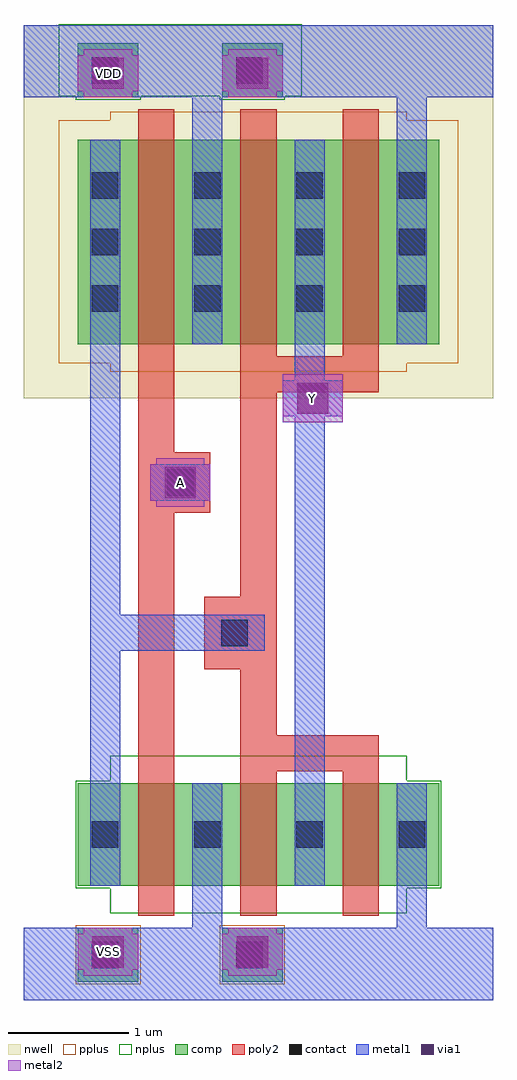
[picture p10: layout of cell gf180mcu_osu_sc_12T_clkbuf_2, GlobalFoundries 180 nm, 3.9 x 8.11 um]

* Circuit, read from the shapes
.subckt gf180mcu_osu_sc_12T_clkbuf_2 A VDD VSS Y
XM1 VSS A n1 VSS nfet_03v3 w=0.85u l=0.3u
XM2 Y n1 VSS VSS nfet_03v3 w=0.85u l=0.3u m=2
XM3 VDD A n1 VDD pfet_03v3 w=1.7u l=0.3u
XM4 Y n1 VDD VDD pfet_03v3 w=1.7u l=0.3u m=2
.ends

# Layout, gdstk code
import gdstk
lib = gdstk.Library(unit=1e-6, precision=1e-09)
def R(c, l, rs):  # rectangles x0, y0, x1, y1
    for r in rs: c.add(gdstk.rectangle(r[:2], r[2:], *l))
def A(c, l, x, y, w, h, nx, ny, dx, dy):  # array of equal rectangles
    R(c, l, [(x+i*dx, y+j*dy, x+i*dx+w, y+j*dy+h) for i in range(nx) for j in range(ny)])
nwell = (21, 0)
comp = (22, 0)
poly2 = (30, 0)
pplus = (31, 0)
nplus = (32, 0)
contact = (33, 0)
metal1 = (34, 0)
via1 = (35, 0)
metal2 = (36, 0)

gf180mcu_osu_sc_12t_clkb = lib.new_cell('gf180mcu_osu_sc_12T_clkbuf_2')
R(gf180mcu_osu_sc_12t_clkb, nwell, [(0,5,3.9,8.1)])
R(gf180mcu_osu_sc_12t_clkb, comp, [(0.45,0.15,0.95,0.6), (1.65,0.15,2.15,0.6), (0.45,0.95,3.45,1.8), (0.45,5.45,3.45,7.15), (0.45,7.5,0.95,7.95), (1.65,7.5,2.15,7.95)])
R(gf180mcu_osu_sc_12t_clkb, poly2, [(0.95,0.7,1.25,4.05), (1.8,0.7,2.1,1.9), (2.65,0.7,2.95,1.9), (1.8,1.9,2.95,2.2), (1.8,2.2,2.1,2.75), (1.5,2.75,2.1,3.35), (1.8,3.35,2.1,5.05), (0.95,4.05,1.55,4.55), (0.95,4.55,1.25,7.4), (1.8,5.05,2.95,5.35), (1.8,5.35,2.1,7.4), (2.65,5.35,2.95,7.4)])
R(gf180mcu_osu_sc_12t_clkb, pplus, [(0.43,0.13,0.97,0.62), (1.63,0.13,2.17,0.62), (0.72,5.22,3.18,5.29), (0.29,5.29,3.61,7.31), (0.72,7.31,3.18,7.38)])
R(gf180mcu_osu_sc_12t_clkb, nplus, [(0.72,0.72,3.18,0.93), (0.43,0.93,3.47,1.82), (0.72,1.82,3.18,2.03), (0.43,7.48,0.97,7.51), (1.63,7.48,2.17,7.51), (0.29,7.51,2.31,8.11)])
A(gf180mcu_osu_sc_12t_clkb, contact, 0.565, 1.265, 0.22, 0.22, 4, 2, 0.85, 4.455)
A(gf180mcu_osu_sc_12t_clkb, contact, 0.565, 6.19, 0.22, 0.22, 4, 2, 0.85, 0.47)
R(gf180mcu_osu_sc_12t_clkb, contact, [(0.565,0.265,0.785,0.485), (1.765,0.265,1.985,0.485), (1.64,2.94,1.86,3.16), (1.19,4.19,1.41,4.41), (0.565,7.615,0.785,7.835), (1.765,7.615,1.985,7.835)])
R(gf180mcu_osu_sc_12t_clkb, metal1, [(0,0,3.9,0.6), (1.4,0.6,1.65,1.8), (3.1,0.6,3.35,1.8), (0.55,0.95,0.8,2.9), (2.25,0.95,2.5,4.85), (0.55,2.9,2,3.2), (0.55,3.2,0.8,7.15), (1.05,4.15,1.55,4.45), (2.15,4.85,2.65,5.15), (2.25,5.15,2.5,7.15), (1.4,5.45,1.65,7.5), (3.1,5.45,3.35,7.5), (0,7.5,3.9,8.1)])
R(gf180mcu_osu_sc_12t_clkb, via1, [(0.57,0.27,0.83,0.53), (1.77,0.27,2.03,0.53), (1.17,4.17,1.43,4.43), (2.27,4.87,2.53,5.13), (0.57,7.57,0.83,7.83), (1.77,7.57,2.03,7.83)])
R(gf180mcu_osu_sc_12t_clkb, metal2, [(0.5,0.2,0.9,0.25), (1.7,0.2,2.1,0.25), (0.45,0.25,0.95,0.55), (1.65,0.25,2.15,0.55), (0.5,0.55,0.9,0.6), (1.7,0.55,2.1,0.6), (1.1,4.1,1.5,4.15), (1.05,4.15,1.55,4.45), (1.1,4.45,1.5,4.5), (2.15,4.8,2.65,5.2), (0.5,7.5,0.9,7.55), (1.7,7.5,2.1,7.55), (0.45,7.55,0.95,7.85), (1.65,7.55,2.15,7.85), (0.5,7.85,0.9,7.9), (1.7,7.85,2.1,7.9)])
gf180mcu_osu_sc_12t_clkb.add(gdstk.Label('VSS', (0.7,0.4), layer=36, texttype=0))
gf180mcu_osu_sc_12t_clkb.add(gdstk.Label('VDD', (0.7,7.7), layer=36, texttype=0))
gf180mcu_osu_sc_12t_clkb.add(gdstk.Label('A', (1.3,4.3), layer=36, texttype=10))
gf180mcu_osu_sc_12t_clkb.add(gdstk.Label('Y', (2.4,5), layer=36, texttype=10))

lib.write_gds('gf180mcu_osu_sc_12T_clkbuf_2.gds')
